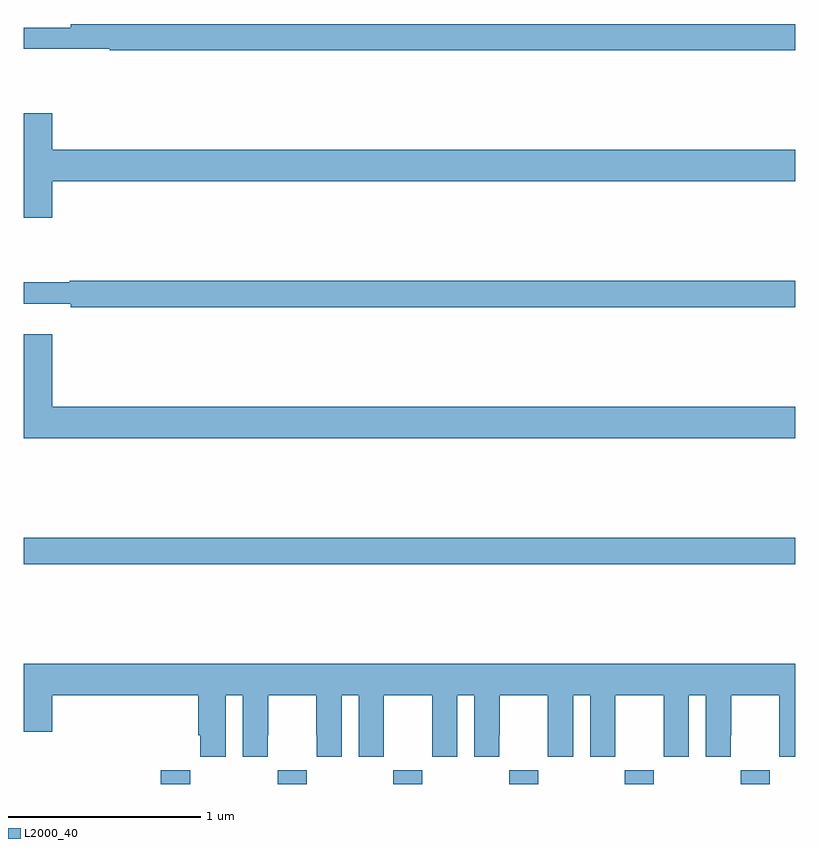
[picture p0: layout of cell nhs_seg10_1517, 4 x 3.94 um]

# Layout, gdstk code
import gdstk
lib = gdstk.Library(unit=1e-6, precision=1e-09)
def R(c, l, rs):  # rectangles x0, y0, x1, y1
    for r in rs: c.add(gdstk.rectangle(r[:2], r[2:], *l))
def A(c, l, x, y, w, h, nx, ny, dx, dy):  # array of equal rectangles
    R(c, l, [(x+i*dx, y+j*dy, x+i*dx+w, y+j*dy+h) for i in range(nx) for j in range(ny)])
def P(c, l, *ps):  # polygons
    for p in ps: c.add(gdstk.Polygon(p, *l))
L2000_40 = (2000, 40)

nhs_seg10_1517 = lib.new_cell('nhs_seg10_1517')
A(nhs_seg10_1517, L2000_40, 190.317, 1322.5, 0.15, 0.072, 5, 1, 0.6, 0)
R(nhs_seg10_1517, L2000_40, [(189.71,1322.5,189.863,1322.572), (189,1323.64,193,1323.776)])
P(nhs_seg10_1517, L2000_40, [(193,1326.44),(189.244,1326.44),(189.244,1326.421),(189,1326.421),(189,1326.312),(189.445,1326.312),(189.445,1326.304),(193,1326.304)],
  [(189.148,1325.624),(193,1325.624),(193,1325.788),(189.148,1325.788),(189.148,1325.977),(189,1325.977),(189,1325.436),(189.148,1325.436)],
  [(193,1325.108),(189.238,1325.108),(189.238,1325.101),(189,1325.101),(189,1324.991),(189.244,1324.991),(189.244,1324.972),(193,1324.972)],
  [(193,1324.456),(189.148,1324.456),(189.148,1324.831),(189,1324.831),(189,1324.292),(193,1324.292)],
  [(189,1322.772),(189.148,1322.772),(189.148,1322.96),(189.905,1322.96),(189.905,1322.752),(189.914,1322.752),(189.914,1322.64),(190.048,1322.64),(190.048,1322.96),(190.136,1322.96),(190.136,1322.64),(190.266,1322.64),(190.266,1322.752),(190.267,1322.752),(190.267,1322.96),(190.517,1322.96),(190.517,1322.752),(190.518,1322.752),(190.518,1322.64),(190.648,1322.64),(190.648,1322.96),(190.736,1322.96),(190.736,1322.64),(190.866,1322.64),(190.866,1322.752),(190.867,1322.752),(190.867,1322.96),(191.117,1322.96),(191.117,1322.752),(191.118,1322.752),(191.118,1322.64),(191.248,1322.64),(191.248,1322.96),(191.336,1322.96),(191.336,1322.64),(191.466,1322.64),(191.466,1322.752),(191.467,1322.752),(191.467,1322.96),(191.717,1322.96),(191.717,1322.752),(191.718,1322.752),(191.718,1322.64),(191.848,1322.64),(191.848,1322.96),(191.936,1322.96),(191.936,1322.64),(192.066,1322.64),(192.066,1322.752),(192.067,1322.752),(192.067,1322.96),(192.317,1322.96),(192.317,1322.752),(192.318,1322.752),(192.318,1322.64),(192.448,1322.64),(192.448,1322.96),(192.536,1322.96),(192.536,1322.64),(192.666,1322.64),(192.666,1322.752),(192.667,1322.752),(192.667,1322.96),(192.917,1322.96),(192.917,1322.752),(192.918,1322.752),(192.918,1322.64),(193,1322.64),(193,1323.124),(189,1323.124)])

lib.write_gds('nhs_seg10_1517.gds')
